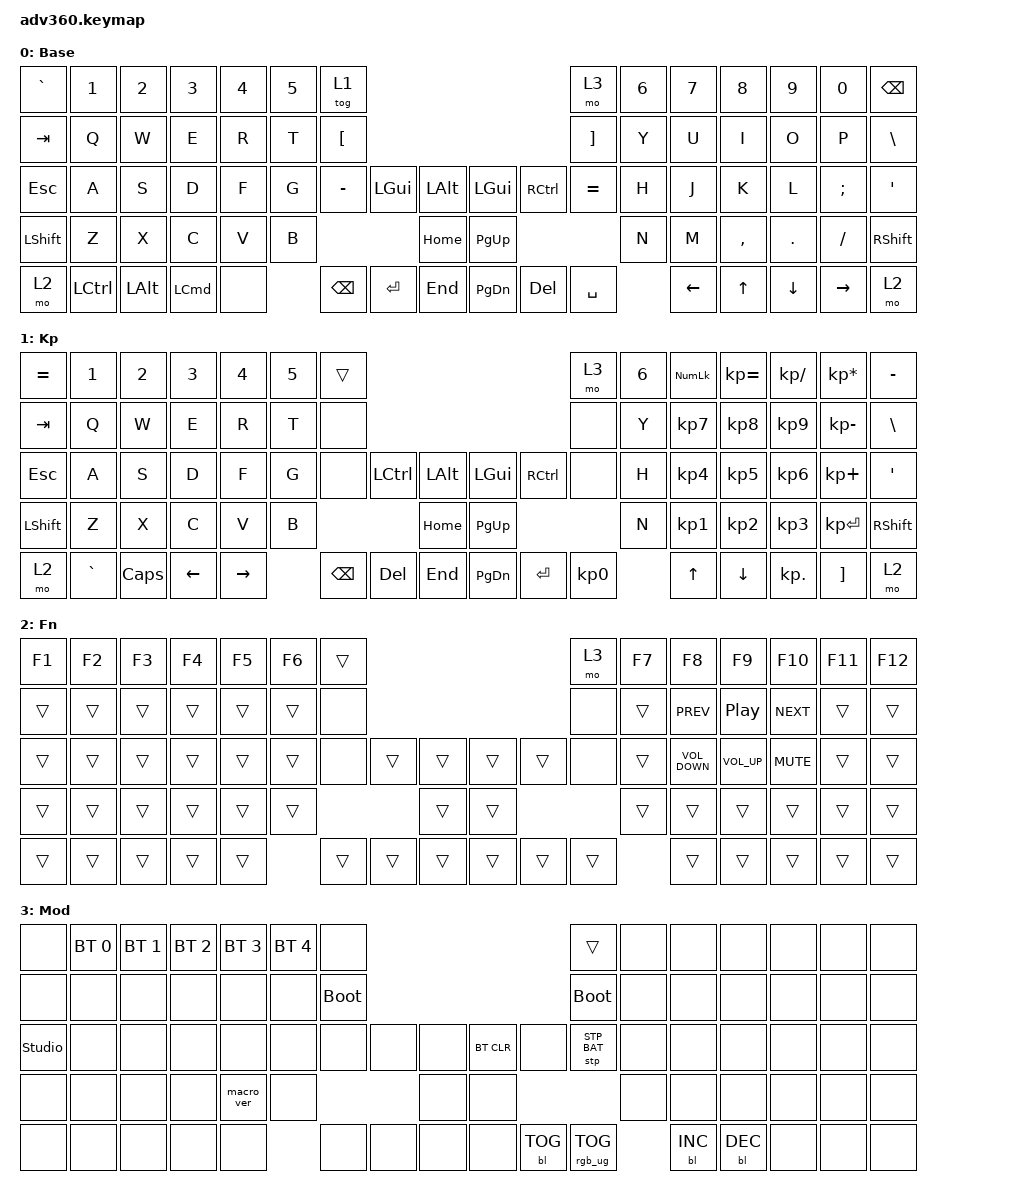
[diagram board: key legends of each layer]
#include <dt-bindings/zmk/stp.h>
#include <behaviors.dtsi>
#include <dt-bindings/zmk/backlight.h>
#include <dt-bindings/zmk/bt.h>
#include <dt-bindings/zmk/keys.h>
#include <dt-bindings/zmk/rgb.h>

/ {
    behaviors {
        #include "macros.dtsi"
      #include "version.dtsi"

        hm: homerow_mods {
            compatible = "zmk,behavior-hold-tap";
            label = "HOMEROW_MODS";
            #binding-cells = <2>;
            tapping-term-ms = <200>;
            quick_tap_ms = <175>;
            flavor = "balanced";
            bindings = <&kp>, <&kp>;

            hold-trigger-on-release;
            quick-tap-ms = <150>;
        };
    };

    keymap {
        compatible = "zmk,keymap";

        default_layer {
            display-name = "Base";
            bindings = <
&kp GRAVE  &kp N1     &kp N2        &kp N3            &kp N4  &kp N5  &tog 1                                                               &mo 3              &kp N6  &kp N7          &kp N8     &kp N9    &kp N0         &kp BACKSPACE
&kp TAB    &kp Q      &kp W         &kp E             &kp R   &kp T   &kp LEFT_BRACKET                                                     &kp RIGHT_BRACKET  &kp Y   &kp U           &kp I      &kp O     &kp P          &kp BSLH
&kp ESC    &kp A      &kp S         &kp D             &kp F   &kp G   &kp MINUS         &kp LEFT_GUI  &kp LALT      &kp LGUI   &kp RCTRL   &kp EQUAL          &kp H   &kp J           &kp K      &kp L     &kp SEMICOLON  &kp SQT
&kp LSHFT  &kp Z      &kp X         &kp C             &kp V   &kp B                                   &kp HOME      &kp PG_UP                                 &kp N   &kp M           &kp COMMA  &kp DOT   &kp FSLH       &kp RSHFT
&mo 2      &kp LCTRL  &kp LEFT_ALT  &kp LEFT_COMMAND  &none           &kp BSPC          &kp ENTER     &kp END       &kp PG_DN  &kp DELETE  &kp SPACE                  &kp LEFT_ARROW  &kp UP     &kp DOWN  &kp RIGHT      &mo 2
            >;
        };

        keypad {
            display-name = "Kp";
            bindings = <
&kp EQUAL  &kp N1     &kp N2    &kp N3    &kp N4     &kp N5  &trans                                                   &mo 3      &kp N6  &kp KP_NUM  &kp KP_EQUAL  &kp KP_DIVIDE  &kp KP_MULTIPLY  &kp MINUS
&kp TAB    &kp Q      &kp W     &kp E     &kp R      &kp T   &none                                                    &none      &kp Y   &kp KP_N7   &kp KP_N8     &kp KP_N9      &kp KP_MINUS     &kp BSLH
&kp ESC    &kp A      &kp S     &kp D     &kp F      &kp G   &none     &kp LCTRL  &kp LALT      &kp LGUI   &kp RCTRL  &none      &kp H   &kp KP_N4   &kp KP_N5     &kp KP_N6      &kp KP_PLUS      &kp SQT
&kp LSHFT  &kp Z      &kp X     &kp C     &kp V      &kp B                        &kp HOME      &kp PG_UP                        &kp N   &kp KP_N1   &kp KP_N2     &kp KP_N3      &kp KP_ENTER     &kp RSHFT
&mo 2      &kp GRAVE  &kp CAPS  &kp LEFT  &kp RIGHT          &kp BSPC  &kp DEL    &kp END       &kp PG_DN  &kp ENTER  &kp KP_N0          &kp UP      &kp DOWN      &kp KP_DOT     &kp RBKT         &mo 2
            >;
        };

        fn {
            display-name = "Fn";
            bindings = <
&kp F1  &kp F2  &kp F3  &kp F4  &kp F5  &kp F6  &trans                                      &mo 3   &kp F7  &kp F8             &kp F9            &kp F10     &kp F11  &kp F12
&trans  &trans  &trans  &trans  &trans  &trans  &none                                       &none   &trans  &kp C_PREV         &kp C_PLAY_PAUSE  &kp C_NEXT  &trans   &trans
&trans  &trans  &trans  &trans  &trans  &trans  &none   &trans  &trans      &trans  &trans  &none   &trans  &kp C_VOLUME_DOWN  &kp C_VOLUME_UP   &kp K_MUTE  &trans   &trans
&trans  &trans  &trans  &trans  &trans  &trans                  &trans      &trans                  &trans  &trans             &trans            &trans      &trans   &trans
&trans  &trans  &trans  &trans  &trans          &trans  &trans  &trans      &trans  &trans  &trans          &trans             &trans            &trans      &trans   &trans
            >;
        };

        mod {
            display-name = "Mod";
            bindings = <
&none           &bt BT_SEL 0  &bt BT_SEL 1  &bt BT_SEL 2  &bt BT_SEL 3  &bt BT_SEL 4  &none                                                  &trans           &none  &none       &none       &none  &none  &none
&none           &none         &none         &none         &none         &none         &bootloader                                            &bootloader      &none  &none       &none       &none  &none  &none
&studio_unlock  &none         &none         &none         &none         &none         &none        &none  &none      &bt BT_CLR  &none       &stp STP_BAT     &none  &none       &none       &none  &none  &none
&none           &none         &none         &none         &macro_ver    &none                             &none      &none                                    &none  &none       &none       &none  &none  &none
&none           &none         &none         &none         &none                       &none        &none  &none      &none       &bl BL_TOG  &rgb_ug RGB_TOG         &bl BL_INC  &bl BL_DEC  &none  &none  &none
            >;
        };
    };
};
